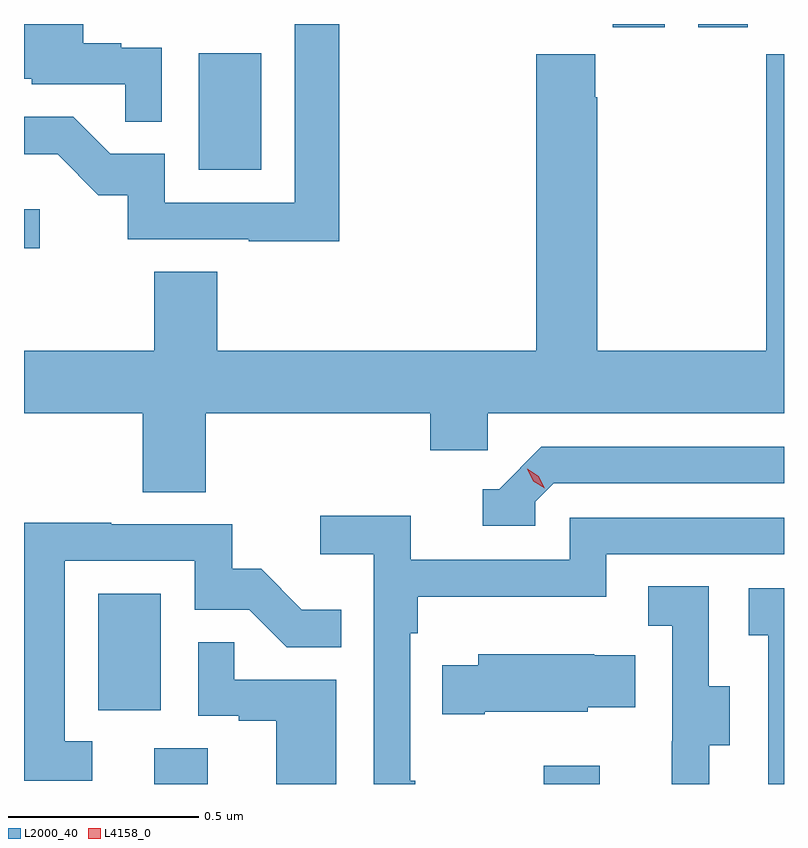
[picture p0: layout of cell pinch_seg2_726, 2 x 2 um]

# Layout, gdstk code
import gdstk
lib = gdstk.Library(unit=1e-6, precision=1e-09)
def R(c, l, rs):  # rectangles x0, y0, x1, y1
    for r in rs: c.add(gdstk.rectangle(r[:2], r[2:], *l))
def P(c, l, *ps):  # polygons
    for p in ps: c.add(gdstk.Polygon(p, *l))
L2000_40 = (2000, 40)
L4158_0 = (4158, 0)

pinch_seg2_726 = lib.new_cell('pinch_seg2_726')
R(pinch_seg2_726, L2000_40, [(1117.181,596.044,1117.321,596.138), (1118.206,596.044,1118.353,596.092), (1117.034,596.238,1117.198,596.545), (1116.838,597.454,1116.88,597.556), (1117.298,597.66,1117.462,597.967), (1118.387,598.035,1118.524,598.044), (1118.612,598.035,1118.743,598.044)])
P(pinch_seg2_726, L2000_40, [(1117.2,597.981),(1117.094,597.981),(1117.094,597.994),(1116.994,597.994),(1116.994,598.044),(1116.838,598.044),(1116.838,597.9),(1116.858,597.9),(1116.858,597.885),(1117.105,597.885),(1117.105,597.787),(1117.2,597.787)],
  [(1117.667,598.044),(1117.551,598.044),(1117.551,597.573),(1117.209,597.573),(1117.209,597.702),(1117.065,597.702),(1116.967,597.8),(1116.838,597.8),(1116.838,597.701),(1116.927,597.701),(1117.034,597.594),(1117.111,597.594),(1117.111,597.477),(1117.429,597.477),(1117.429,597.472),(1117.667,597.472)],
  [(1117.316,597.02),(1117.907,597.02),(1117.907,596.922),(1118.058,596.922),(1118.058,597.02),(1118.838,597.02),(1118.838,597.964),(1118.791,597.964),(1118.791,597.184),(1118.346,597.184),(1118.346,597.851),(1118.341,597.851),(1118.341,597.964),(1118.186,597.964),(1118.186,597.184),(1117.346,597.184),(1117.346,597.392),(1117.181,597.392),(1117.181,597.184),(1116.838,597.184),(1116.838,597.02),(1117.151,597.02),(1117.151,596.812),(1117.316,596.812)],
  [(1118.184,596.787),(1118.232,596.835),(1118.838,596.835),(1118.838,596.931),(1118.199,596.931),(1118.088,596.82),(1118.045,596.82),(1118.045,596.724),(1118.184,596.724)],
  [(1117.867,596.053),(1117.854,596.053),(1117.854,596.441),(1117.874,596.441),(1117.874,596.537),(1118.37,596.537),(1118.37,596.649),(1118.838,596.649),(1118.838,596.745),(1118.274,596.745),(1118.274,596.634),(1117.856,596.634),(1117.856,596.75),(1117.617,596.75),(1117.617,596.648),(1117.758,596.648),(1117.758,596.044),(1117.867,596.044)],
  [(1117.018,596.157),(1116.945,596.157),(1116.945,596.631),(1117.287,596.631),(1117.287,596.502),(1117.431,596.502),(1117.529,596.404),(1117.673,596.404),(1117.673,596.503),(1117.569,596.503),(1117.462,596.61),(1117.386,596.61),(1117.386,596.727),(1117.067,596.727),(1117.067,596.732),(1116.838,596.732),(1116.838,596.052),(1117.018,596.052)],
  [(1118.641,596.146),(1118.695,596.146),(1118.695,596.301),(1118.64,596.301),(1118.64,596.564),(1118.481,596.564),(1118.481,596.461),(1118.544,596.461),(1118.544,596.157),(1118.543,596.157),(1118.543,596.044),(1118.641,596.044)],
  [(1118.838,596.559),(1118.745,596.559),(1118.745,596.435),(1118.796,596.435),(1118.796,596.044),(1118.838,596.044)],
  [(1117.66,596.319),(1117.391,596.319),(1117.391,596.417),(1117.296,596.417),(1117.296,596.223),(1117.403,596.223),(1117.403,596.211),(1117.502,596.211),(1117.502,596.044),(1117.66,596.044)],
  [(1118.05,596.234),(1118.322,596.234),(1118.322,596.246),(1118.447,596.246),(1118.447,596.383),(1118.339,596.383),(1118.339,596.386),(1118.033,596.386),(1118.033,596.356),(1117.939,596.356),(1117.939,596.227),(1118.05,596.227)])
P(pinch_seg2_726, L4158_0, [(1118.208,596.822),(1118.178,596.841),(1118.162,596.874),(1118.162,596.874),(1118.162,596.874),(1118.193,596.854),(1118.209,596.822),(1118.209,596.822)])

lib.write_gds('pinch_seg2_726.gds')
